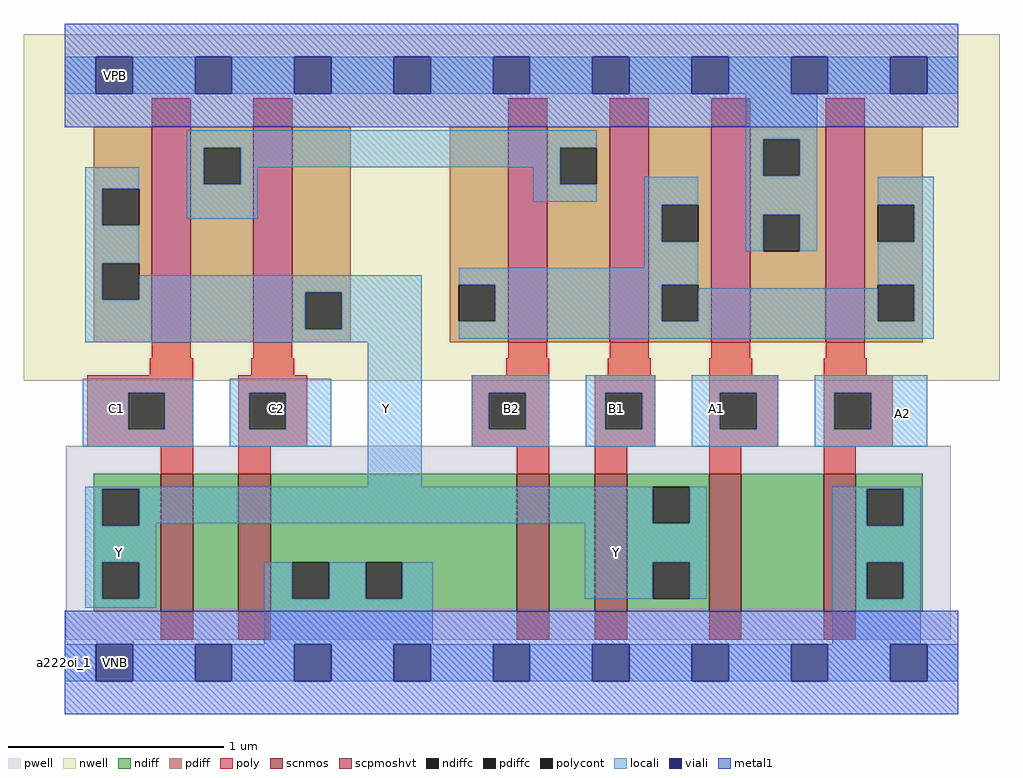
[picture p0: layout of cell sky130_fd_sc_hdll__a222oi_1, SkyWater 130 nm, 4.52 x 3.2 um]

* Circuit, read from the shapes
.subckt sky130_fd_sc_hdll__a222oi_1 A1 A2 B1 B2 C1 C2 VGND VNB VPB VPWR Y
XM1 n1 C1 Y VNB sky130_fd_pr__nfet_01v8 w=0.64 l=0.15
XM2 VGND C2 n1 VNB sky130_fd_pr__nfet_01v8 w=0.64 l=0.15
XM3 n2 B2 VGND VNB sky130_fd_pr__nfet_01v8 w=0.64 l=0.15
XM4 Y B1 n2 VNB sky130_fd_pr__nfet_01v8 w=0.64 l=0.15
XM5 n3 A1 Y VNB sky130_fd_pr__nfet_01v8 w=0.64 l=0.15
XM6 VGND A2 n3 VNB sky130_fd_pr__nfet_01v8 w=0.64 l=0.15
XM7 n4 C1 Y VPB sky130_fd_pr__pfet_01v8_hvt w=1 l=0.18
XM8 Y C2 n4 VPB sky130_fd_pr__pfet_01v8_hvt w=1 l=0.18
XM9 n4 B2 n5 VPB sky130_fd_pr__pfet_01v8_hvt w=1 l=0.18
XM10 n5 B1 n4 VPB sky130_fd_pr__pfet_01v8_hvt w=1 l=0.18
XM11 VPWR A1 n5 VPB sky130_fd_pr__pfet_01v8_hvt w=1 l=0.18
XM12 n5 A2 VPWR VPB sky130_fd_pr__pfet_01v8_hvt w=1 l=0.18
.ends

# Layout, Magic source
magic
tech sky130A
magscale 1 2
<< nwell >>
rect -38 261 866 582
<< pwell >>
rect 1 21 821 201
rect 30 -17 64 21
<< scnmos >>
rect 89 47 119 175
rect 161 47 191 175
rect 419 47 449 175
rect 491 47 521 175
rect 597 47 627 175
rect 703 47 733 175
<< scpmoshvt >>
rect 81 297 117 497
rect 175 297 211 497
rect 411 297 447 497
rect 505 297 541 497
rect 599 297 635 497
rect 705 297 741 497
<< ndiff >>
rect 27 161 89 175
rect 27 127 35 161
rect 69 127 89 161
rect 27 93 89 127
rect 27 59 35 93
rect 69 59 89 93
rect 27 47 89 59
rect 119 47 161 175
rect 191 93 419 175
rect 191 59 211 93
rect 245 59 279 93
rect 313 59 419 93
rect 191 47 419 59
rect 449 47 491 175
rect 521 163 597 175
rect 521 129 545 163
rect 579 129 597 163
rect 521 93 597 129
rect 521 59 545 93
rect 579 59 597 93
rect 521 47 597 59
rect 627 47 703 175
rect 733 161 795 175
rect 733 127 743 161
rect 777 127 795 161
rect 733 93 795 127
rect 733 59 743 93
rect 777 59 795 93
rect 733 47 795 59
<< pdiff >>
rect 27 439 81 497
rect 27 405 35 439
rect 69 405 81 439
rect 27 370 81 405
rect 27 336 35 370
rect 69 336 81 370
rect 27 297 81 336
rect 117 477 175 497
rect 117 443 129 477
rect 163 443 175 477
rect 117 297 175 443
rect 211 343 265 497
rect 211 309 223 343
rect 257 309 265 343
rect 211 297 265 309
rect 357 350 411 497
rect 357 316 365 350
rect 399 316 411 350
rect 357 297 411 316
rect 447 477 505 497
rect 447 443 459 477
rect 493 443 505 477
rect 447 297 505 443
rect 541 424 599 497
rect 541 390 553 424
rect 587 390 599 424
rect 541 350 599 390
rect 541 316 553 350
rect 587 316 599 350
rect 541 297 599 316
rect 635 485 705 497
rect 635 451 647 485
rect 681 451 705 485
rect 635 415 705 451
rect 635 381 647 415
rect 681 381 705 415
rect 635 297 705 381
rect 741 424 795 497
rect 741 390 753 424
rect 787 390 795 424
rect 741 350 795 390
rect 741 316 753 350
rect 787 316 795 350
rect 741 297 795 316
<< ndiffc >>
rect 35 127 69 161
rect 35 59 69 93
rect 211 59 245 93
rect 279 59 313 93
rect 545 129 579 163
rect 545 59 579 93
rect 743 127 777 161
rect 743 59 777 93
<< pdiffc >>
rect 35 405 69 439
rect 35 336 69 370
rect 129 443 163 477
rect 223 309 257 343
rect 365 316 399 350
rect 459 443 493 477
rect 553 390 587 424
rect 553 316 587 350
rect 647 451 681 485
rect 647 381 681 415
rect 753 390 787 424
rect 753 316 787 350
<< poly >>
rect 81 497 117 523
rect 175 497 211 523
rect 411 497 447 523
rect 505 497 541 523
rect 599 497 635 523
rect 705 497 741 523
rect 81 282 117 297
rect 175 282 211 297
rect 411 282 447 297
rect 505 282 541 297
rect 599 282 635 297
rect 705 282 741 297
rect 79 266 119 282
rect 173 266 213 282
rect 409 266 449 282
rect 503 266 543 282
rect 597 266 637 282
rect 703 266 743 282
rect 21 250 119 266
rect 21 216 59 250
rect 93 216 119 250
rect 21 200 119 216
rect 89 175 119 200
rect 161 250 225 266
rect 161 216 171 250
rect 205 216 225 250
rect 161 200 225 216
rect 377 250 449 266
rect 377 216 393 250
rect 427 216 449 250
rect 377 200 449 216
rect 161 175 191 200
rect 419 175 449 200
rect 491 250 547 266
rect 491 216 501 250
rect 535 216 547 250
rect 491 200 547 216
rect 597 250 661 266
rect 597 216 607 250
rect 641 216 661 250
rect 597 200 661 216
rect 703 250 767 266
rect 703 216 713 250
rect 747 216 767 250
rect 703 200 767 216
rect 491 175 521 200
rect 597 175 627 200
rect 703 175 733 200
rect 89 21 119 47
rect 161 21 191 47
rect 419 21 449 47
rect 491 21 521 47
rect 597 21 627 47
rect 703 21 733 47
<< polycont >>
rect 59 216 93 250
rect 171 216 205 250
rect 393 216 427 250
rect 501 216 535 250
rect 607 216 641 250
rect 713 216 747 250
<< locali >>
rect 0 527 29 561
rect 63 527 121 561
rect 155 527 213 561
rect 247 527 305 561
rect 339 527 397 561
rect 431 527 489 561
rect 523 527 581 561
rect 615 527 673 561
rect 707 527 765 561
rect 799 527 828 561
rect 113 477 493 493
rect 19 439 69 459
rect 19 405 35 439
rect 113 443 129 477
rect 163 459 459 477
rect 163 443 179 459
rect 113 411 179 443
rect 434 443 459 459
rect 631 485 697 527
rect 631 451 647 485
rect 681 451 697 485
rect 434 427 493 443
rect 537 424 587 450
rect 19 370 69 405
rect 19 336 35 370
rect 537 390 553 424
rect 537 366 587 390
rect 631 415 697 451
rect 631 381 647 415
rect 681 381 697 415
rect 753 424 805 450
rect 787 390 805 424
rect 69 343 331 359
rect 69 336 223 343
rect 19 309 223 336
rect 257 309 331 343
rect 19 297 331 309
rect 365 350 587 366
rect 399 316 553 350
rect 753 350 805 390
rect 587 316 753 347
rect 787 316 805 350
rect 365 300 805 316
rect 17 250 119 263
rect 17 216 59 250
rect 93 216 119 250
rect 17 200 119 216
rect 153 250 247 263
rect 153 216 171 250
rect 205 216 247 250
rect 153 200 247 216
rect 281 163 331 297
rect 377 250 449 266
rect 377 216 393 250
rect 427 216 449 250
rect 377 200 449 216
rect 483 250 547 266
rect 483 216 501 250
rect 535 216 547 250
rect 483 200 547 216
rect 581 250 661 266
rect 581 216 607 250
rect 641 216 661 250
rect 581 200 661 216
rect 695 250 799 266
rect 695 216 713 250
rect 747 216 799 250
rect 695 200 799 216
rect 19 161 545 163
rect 19 127 35 161
rect 69 129 545 161
rect 579 129 595 163
rect 69 127 85 129
rect 19 93 85 127
rect 482 93 595 129
rect 19 59 35 93
rect 69 59 85 93
rect 19 51 85 59
rect 185 59 211 93
rect 245 59 279 93
rect 313 59 341 93
rect 482 59 545 93
rect 579 59 595 93
rect 711 161 793 163
rect 711 127 743 161
rect 777 127 793 161
rect 711 93 793 127
rect 711 59 743 93
rect 777 59 793 93
rect 185 17 341 59
rect 711 17 793 59
rect 0 -17 29 17
rect 63 -17 121 17
rect 155 -17 213 17
rect 247 -17 305 17
rect 339 -17 397 17
rect 431 -17 489 17
rect 523 -17 581 17
rect 615 -17 673 17
rect 707 -17 765 17
rect 799 -17 828 17
<< viali >>
rect 29 527 63 561
rect 121 527 155 561
rect 213 527 247 561
rect 305 527 339 561
rect 397 527 431 561
rect 489 527 523 561
rect 581 527 615 561
rect 673 527 707 561
rect 765 527 799 561
rect 29 -17 63 17
rect 121 -17 155 17
rect 213 -17 247 17
rect 305 -17 339 17
rect 397 -17 431 17
rect 489 -17 523 17
rect 581 -17 615 17
rect 673 -17 707 17
rect 765 -17 799 17
<< metal1 >>
rect 0 561 828 592
rect 0 527 29 561
rect 63 527 121 561
rect 155 527 213 561
rect 247 527 305 561
rect 339 527 397 561
rect 431 527 489 561
rect 523 527 581 561
rect 615 527 673 561
rect 707 527 765 561
rect 799 527 828 561
rect 0 496 828 527
rect 0 17 828 48
rect 0 -17 29 17
rect 63 -17 121 17
rect 155 -17 213 17
rect 247 -17 305 17
rect 339 -17 397 17
rect 431 -17 489 17
rect 523 -17 581 17
rect 615 -17 673 17
rect 707 -17 765 17
rect 799 -17 828 17
rect 0 -48 828 -17
<< labels >>
flabel pwell s 30 -17 64 17 0 FreeSans 200 0 0 0 VNB
port 8 nsew ground bidirectional
rlabel comment s 0 0 0 0 4 a222oi_1
flabel nwell s 30 527 64 561 0 FreeSans 200 0 0 0 VPB
port 9 nsew power bidirectional
flabel metal1 s 30 -17 64 17 0 FreeSans 200 0 0 0 VGND
port 7 nsew ground bidirectional
flabel metal1 s 30 527 64 561 0 FreeSans 200 0 0 0 VPWR
port 10 nsew power bidirectional
flabel locali s 174 218 218 252 0 FreeSans 340 0 0 0 C2
port 6 nsew signal input
flabel locali s 31 218 65 252 0 FreeSans 340 0 0 0 C1
port 5 nsew signal input
flabel locali s 494 218 528 252 0 FreeSans 340 0 0 0 B1
port 3 nsew signal input
flabel locali s 759 214 793 248 0 FreeSans 340 0 0 0 A2
port 2 nsew signal input
flabel locali s 587 218 621 252 0 FreeSans 340 0 0 0 A1
port 1 nsew signal input
flabel locali s 281 218 315 252 0 FreeSans 340 0 0 0 Y
port 11 nsew signal output
flabel locali s 397 218 431 252 0 FreeSans 340 0 0 0 B2
port 4 nsew signal input
flabel locali s 494 85 528 119 0 FreeSans 340 0 0 0 Y
port 11 nsew signal output
flabel locali s 34 85 68 119 0 FreeSans 340 0 0 0 Y
port 11 nsew signal output
<< properties >>
string LEFsite unithd
string LEFclass CORE
string FIXED_BBOX 0 0 828 544
string GDS_FILE $PDKPATH/libs.ref/sky130_fd_sc_hdll/gds/sky130_fd_sc_hdll.gds
string LEFsymmetry X Y R90
string GDS_END 1693538
string GDS_START 1686454
string LEFproperties maskLayoutSubType "abstract" prCellType "standard" originalViewName "layout"
<< end >>
